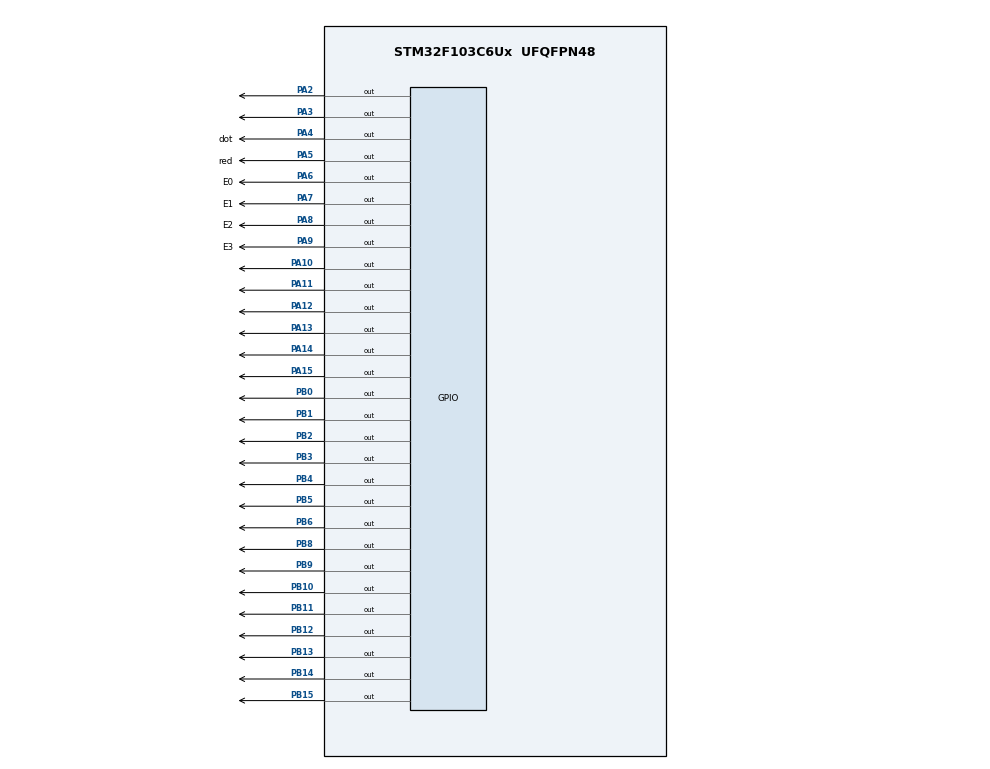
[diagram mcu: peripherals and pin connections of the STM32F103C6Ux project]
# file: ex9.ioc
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Mcu.Family=STM32F1
Mcu.Name=STM32F103C6Ux
Mcu.Package=UFQFPN48
NVIC.PriorityGroup=NVIC_PRIORITYGROUP_4
NVIC.TIM2_IRQn=true\:0\:0\:false\:false\:true\:true\:true
PA10.Signal=GPIO_Output
PA11.Signal=GPIO_Output
PA12.Signal=GPIO_Output
PA13.Signal=GPIO_Output
PA14.Signal=GPIO_Output
PA15.Signal=GPIO_Output
PA2.Signal=GPIO_Output
PA3.Signal=GPIO_Output
PA4.GPIO_Label=dot
PA4.Signal=GPIO_Output
PA5.GPIO_Label=red
PA5.Signal=GPIO_Output
PA6.GPIO_Label=E0
PA6.Signal=GPIO_Output
PA7.GPIO_Label=E1
PA7.Signal=GPIO_Output
PA8.GPIO_Label=E2
PA8.Signal=GPIO_Output
PA9.GPIO_Label=E3
PA9.Signal=GPIO_Output
PB0.Signal=GPIO_Output
PB1.Signal=GPIO_Output
PB10.Signal=GPIO_Output
PB11.Signal=GPIO_Output
PB12.Signal=GPIO_Output
PB13.Signal=GPIO_Output
PB14.Signal=GPIO_Output
PB15.Signal=GPIO_Output
PB2.Signal=GPIO_Output
PB3.Signal=GPIO_Output
PB4.Signal=GPIO_Output
PB5.Signal=GPIO_Output
PB6.Signal=GPIO_Output
PB8.Signal=GPIO_Output
PB9.Signal=GPIO_Output
ProjectManager.HeapSize=0x200
ProjectManager.StackSize=0x400
ProjectManager.TargetToolchain=STM32CubeIDE
RCC.APB1Freq_Value=8000000
RCC.APB2Freq_Value=8000000
TIM2.Period=9
TIM2.Prescaler=7999
VP_SYS_VS_ND.Mode=No_Debug
VP_TIM2_VS_ClockSourceINT.Mode=Internal
board=custom

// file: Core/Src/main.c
/* USER CODE BEGIN Header */
/**
  ******************************************************************************
  * @file           : main.c
  * @brief          : Main program body
  ******************************************************************************
  * @attention
  *
  * <h2><center>&copy; Copyright (c) 2023 STMicroelectronics.
  * All rights reserved.</center></h2>
  *
  * This software component is licensed by ST under BSD 3-Clause license,
  * the "License"; You may not use this file except in compliance with the
  * License. You may obtain a copy of the License at:
  *                        opensource.org/licenses/BSD-3-Clause
  *
  ******************************************************************************
  */
/* USER CODE END Header */
#include "main.h"
	int timer0_counter = 0;
	int timer0_flag = 0;
	int TIMER_CYCLE = 10;

	int hour = 23 , minute = 9 , second = 55;
	const int MAX_LED = 4;
	int index_led = 0; // state
	int led_buffer[4];

	const int MAX_LED_MATRIX = 8;
	int index_led_matrix = 0;
	uint8_t matrix_buffer[8] = {0x01 , 0x02 , 0x03 , 0x04 , 0x05 , 0x06 , 0x07 , 0x08};

TIM_HandleTypeDef htim2;

void SystemClock_Config(void);
static void MX_GPIO_Init(void);
static void MX_TIM2_Init(void);

int main(void)
{

  /* MCU Configuration--------------------------------------------------------*/

  /* Reset of all peripherals, Initializes the Flash interface and the Systick. */
  HAL_Init();

  /* Configure the system clock */
  SystemClock_Config();

  /* Initialize all configured peripherals */
  MX_GPIO_Init();
  MX_TIM2_Init();
  /* USER CODE BEGIN 2 */
  HAL_TIM_Base_Start_IT(&htim2);
  /* USER CODE END 2 */

  /* Infinite loop */
  /* USER CODE BEGIN WHILE */
  for(int i = 0; i < MAX_LED_MATRIX; i++) {
	  updateLEDMatrix(i);
  }
  setTimer0(10);
  while (1)
  {
	  updateClockBuffer();
	  if(timer0_flag == 1) {
		  HAL_GPIO_WritePin(GPIOA, GPIO_PIN_2, GPIO_PIN_RESET);
		  HAL_GPIO_WritePin(GPIOA, GPIO_PIN_3, GPIO_PIN_RESET);
		  HAL_GPIO_WritePin(GPIOA, GPIO_PIN_10, GPIO_PIN_RESET);
		  HAL_GPIO_WritePin(GPIOA, GPIO_PIN_11, GPIO_PIN_RESET);
		  HAL_GPIO_WritePin(GPIOA, GPIO_PIN_12, GPIO_PIN_RESET);
		  HAL_GPIO_WritePin(GPIOA, GPIO_PIN_13, GPIO_PIN_RESET);
		  HAL_GPIO_WritePin(GPIOA, GPIO_PIN_14, GPIO_PIN_RESET);
		  HAL_GPIO_WritePin(GPIOA, GPIO_PIN_15, GPIO_PIN_RESET);

			HAL_GPIO_TogglePin(red_GPIO_Port, red_Pin);
			HAL_GPIO_TogglePin(dot_GPIO_Port, dot_Pin);
			if(index_led == 0) {
				HAL_GPIO_WritePin(E0_GPIO_Port, E0_Pin, RESET);
				HAL_GPIO_WritePin(E1_GPIO_Port, E1_Pin, SET);
				HAL_GPIO_WritePin(E2_GPIO_Port, E2_Pin, SET);
				HAL_GPIO_WritePin(E3_GPIO_Port, E3_Pin, SET);
				update7SEG(index_led);
			}
			else if(index_led == 1) {
				HAL_GPIO_WritePin(E0_GPIO_Port, E0_Pin, SET);
				HAL_GPIO_WritePin(E1_GPIO_Port, E1_Pin, RESET);
				HAL_GPIO_WritePin(E2_GPIO_Port, E2_Pin, SET);
				HAL_GPIO_WritePin(E3_GPIO_Port, E3_Pin, SET);
				update7SEG(index_led);
			}
			else if(index_led == 2) {
				HAL_GPIO_WritePin(E0_GPIO_Port, E0_Pin, SET);
				HAL_GPIO_WritePin(E1_GPIO_Port, E1_Pin, SET);
				HAL_GPIO_WritePin(E2_GPIO_Port, E2_Pin, RESET);
				HAL_GPIO_WritePin(E3_GPIO_Port, E3_Pin, SET);
				update7SEG(index_led);
			}
			else {
				HAL_GPIO_WritePin(E0_GPIO_Port, E0_Pin, SET);
				HAL_GPIO_WritePin(E1_GPIO_Port, E1_Pin, SET);
				HAL_GPIO_WritePin(E2_GPIO_Port, E2_Pin, SET);
				HAL_GPIO_WritePin(E3_GPIO_Port, E3_Pin, RESET);
				update7SEG(index_led);
			}
			second++;
			if (second >= 60) {
					  second = 0;
					  minute ++;
				  }
			if( minute >= 60) {
				      minute = 0;
				      hour ++;
				  }
			if( hour >=24) {
				  	  hour = 0;
				  }
			index_led = (index_led + 1) % MAX_LED;
		  setTimer0(1000);
	  }
    /* USER CODE END WHILE */

  }
}

void SystemClock_Config(void)
{
  RCC_OscInitTypeDef RCC_OscInitStruct = {0};
  RCC_ClkInitTypeDef RCC_ClkInitStruct = {0};

  /** Initializes the RCC Oscillators according to the specified parameters
  * in the RCC_OscInitTypeDef structure.
  */
  RCC_OscInitStruct.OscillatorType = RCC_OSCILLATORTYPE_HSI;
  RCC_OscInitStruct.HSIState = RCC_HSI_ON;
  RCC_OscInitStruct.HSICalibrationValue = RCC_HSICALIBRATION_DEFAULT;
  RCC_OscInitStruct.PLL.PLLState = RCC_PLL_NONE;
  if (HAL_RCC_OscConfig(&RCC_OscInitStruct) != HAL_OK)
  {
    Error_Handler();
  }
  /** Initializes the CPU, AHB and APB buses clocks
  */
  RCC_ClkInitStruct.ClockType = RCC_CLOCKTYPE_HCLK|RCC_CLOCKTYPE_SYSCLK
                              |RCC_CLOCKTYPE_PCLK1|RCC_CLOCKTYPE_PCLK2;
  RCC_ClkInitStruct.SYSCLKSource = RCC_SYSCLKSOURCE_HSI;
  RCC_ClkInitStruct.AHBCLKDivider = RCC_SYSCLK_DIV1;
  RCC_ClkInitStruct.APB1CLKDivider = RCC_HCLK_DIV1;
  RCC_ClkInitStruct.APB2CLKDivider = RCC_HCLK_DIV1;

  if (HAL_RCC_ClockConfig(&RCC_ClkInitStruct, FLASH_LATENCY_0) != HAL_OK)
  {
    Error_Handler();
  }
}

static void MX_TIM2_Init(void)
{

  TIM_ClockConfigTypeDef sClockSourceConfig = {0};
  TIM_MasterConfigTypeDef sMasterConfig = {0};

  htim2.Instance = TIM2;
  htim2.Init.Prescaler = 7999;
  htim2.Init.CounterMode = TIM_COUNTERMODE_UP;
  htim2.Init.Period = 9;
  htim2.Init.ClockDivision = TIM_CLOCKDIVISION_DIV1;
  htim2.Init.AutoReloadPreload = TIM_AUTORELOAD_PRELOAD_DISABLE;
  if (HAL_TIM_Base_Init(&htim2) != HAL_OK)
  {
    Error_Handler();
  }
  sClockSourceConfig.ClockSource = TIM_CLOCKSOURCE_INTERNAL;
  if (HAL_TIM_ConfigClockSource(&htim2, &sClockSourceConfig) != HAL_OK)
  {
    Error_Handler();
  }
  sMasterConfig.MasterOutputTrigger = TIM_TRGO_RESET;
  sMasterConfig.MasterSlaveMode = TIM_MASTERSLAVEMODE_DISABLE;
  if (HAL_TIMEx_MasterConfigSynchronization(&htim2, &sMasterConfig) != HAL_OK)
  {
    Error_Handler();
  }

}

static void MX_GPIO_Init(void)
{
  GPIO_InitTypeDef GPIO_InitStruct = {0};

  /* GPIO Ports Clock Enable */
  __HAL_RCC_GPIOA_CLK_ENABLE();
  __HAL_RCC_GPIOB_CLK_ENABLE();

  /*Configure GPIO pin Output Level */
  HAL_GPIO_WritePin(GPIOA, GPIO_PIN_2|GPIO_PIN_3|dot_Pin|red_Pin
                          |E0_Pin|E1_Pin|E2_Pin|E3_Pin
                          |GPIO_PIN_10|GPIO_PIN_11|GPIO_PIN_12|GPIO_PIN_13
                          |GPIO_PIN_14|GPIO_PIN_15, GPIO_PIN_RESET);

  /*Configure GPIO pin Output Level */
  HAL_GPIO_WritePin(GPIOB, GPIO_PIN_0|GPIO_PIN_1|GPIO_PIN_2|GPIO_PIN_10
                          |GPIO_PIN_11|GPIO_PIN_12|GPIO_PIN_13|GPIO_PIN_14
                          |GPIO_PIN_15|GPIO_PIN_3|GPIO_PIN_4|GPIO_PIN_5
                          |GPIO_PIN_6|GPIO_PIN_8|GPIO_PIN_9, GPIO_PIN_RESET);

  /*Configure GPIO pins : PA2 PA3 dot_Pin red_Pin
                           E0_Pin E1_Pin E2_Pin E3_Pin
                           PA10 PA11 PA12 PA13
                           PA14 PA15 */
  GPIO_InitStruct.Pin = GPIO_PIN_2|GPIO_PIN_3|dot_Pin|red_Pin
                          |E0_Pin|E1_Pin|E2_Pin|E3_Pin
                          |GPIO_PIN_10|GPIO_PIN_11|GPIO_PIN_12|GPIO_PIN_13
                          |GPIO_PIN_14|GPIO_PIN_15;
  GPIO_InitStruct.Mode = GPIO_MODE_OUTPUT_PP;
  GPIO_InitStruct.Pull = GPIO_NOPULL;
  GPIO_InitStruct.Speed = GPIO_SPEED_FREQ_LOW;
  HAL_GPIO_Init(GPIOA, &GPIO_InitStruct);

  /*Configure GPIO pins : PB0 PB1 PB2 PB10
                           PB11 PB12 PB13 PB14
                           PB15 PB3 PB4 PB5
                           PB6 PB8 PB9 */
  GPIO_InitStruct.Pin = GPIO_PIN_0|GPIO_PIN_1|GPIO_PIN_2|GPIO_PIN_10
                          |GPIO_PIN_11|GPIO_PIN_12|GPIO_PIN_13|GPIO_PIN_14
                          |GPIO_PIN_15|GPIO_PIN_3|GPIO_PIN_4|GPIO_PIN_5
                          |GPIO_PIN_6|GPIO_PIN_8|GPIO_PIN_9;
  GPIO_InitStruct.Mode = GPIO_MODE_OUTPUT_PP;
  GPIO_InitStruct.Pull = GPIO_NOPULL;
  GPIO_InitStruct.Speed = GPIO_SPEED_FREQ_LOW;
  HAL_GPIO_Init(GPIOB, &GPIO_InitStruct);

}

/* USER CODE BEGIN 4 */
// set delay
void setTimer0 (int duration) {
 	timer0_counter = duration / TIMER_CYCLE ;
	timer0_flag = 0;
}

void timer_run () {
	if( timer0_counter > 0) {
		timer0_counter--;
		if( timer0_counter == 0) timer0_flag = 1;
	}
}

void HAL_TIM_PeriodElapsedCallback ( TIM_HandleTypeDef * htim )
{
	timer_run();
}

// set led matrix
void updateLEDMatrix(int index){
     switch(index){
	case 0:
		matrix_buffer[0] = 0x18;
		break;
	case 1:
		matrix_buffer[1] = 0x3C;
		break;
	case 2:
		matrix_buffer[2] = 0x66;
		break;
	case 3:
		matrix_buffer[3] = 0x66;
		break;
	case 4:
		matrix_buffer[4] = 0x7E;
		break;
	case 5:
		matrix_buffer[5] = 0x7E;
		break;
	case 6:
		matrix_buffer[6] = 0x66;
		break;
	case 7:
		matrix_buffer[7] = 0x66;
		break;
	default:
		break;
	}
}

// set 7 led
void display7SEG(int num)
{
    const int segments[10] = {
        0b00111111, // 0
        0b00000110, // 1
        0b01011011, // 2
        0b01001111, // 3
        0b01100110, // 4
        0b01101101, // 5
        0b01111101, // 6
        0b00000111, // 7
        0b01111111, // 8
        0b01101111  // 9
    };

    uint8_t displaySegments = segments[num];

    HAL_GPIO_WritePin(GPIOB, GPIO_PIN_0, (displaySegments & 0x01) ? GPIO_PIN_RESET : GPIO_PIN_SET);
    HAL_GPIO_WritePin(GPIOB, GPIO_PIN_1, ((displaySegments >> 1) & 0x01) ? GPIO_PIN_RESET : GPIO_PIN_SET);
    HAL_GPIO_WritePin(GPIOB, GPIO_PIN_2, ((displaySegments >> 2) & 0x01) ? GPIO_PIN_RESET : GPIO_PIN_SET);
    HAL_GPIO_WritePin(GPIOB, GPIO_PIN_3, ((displaySegments >> 3) & 0x01) ? GPIO_PIN_RESET : GPIO_PIN_SET);
    HAL_GPIO_WritePin(GPIOB, GPIO_PIN_4, ((displaySegments >> 4) & 0x01) ? GPIO_PIN_RESET : GPIO_PIN_SET);
    HAL_GPIO_WritePin(GPIOB, GPIO_PIN_5, ((displaySegments >> 5) & 0x01) ? GPIO_PIN_RESET : GPIO_PIN_SET);
    HAL_GPIO_WritePin(GPIOB, GPIO_PIN_6, ((displaySegments >> 6) & 0x01) ? GPIO_PIN_RESET : GPIO_PIN_SET);
}

void update7SEG(index_led){
	display7SEG(led_buffer[index_led]);
}

void updateClockBuffer() {
    int hour0 = hour / 10;
    int hour1 = hour % 10;
    int minute0 = minute / 10;
    int minute1 = minute % 10;

    led_buffer[0] = hour0;
    led_buffer[1] = hour1;
    led_buffer[2] = minute0;
    led_buffer[3] = minute1;
}
/* USER CODE END 4 */

void Error_Handler(void)
{
  __disable_irq();
  while (1)
  {
  }
}

/************************ (C) COPYRIGHT STMicroelectronics *****END OF FILE****/
